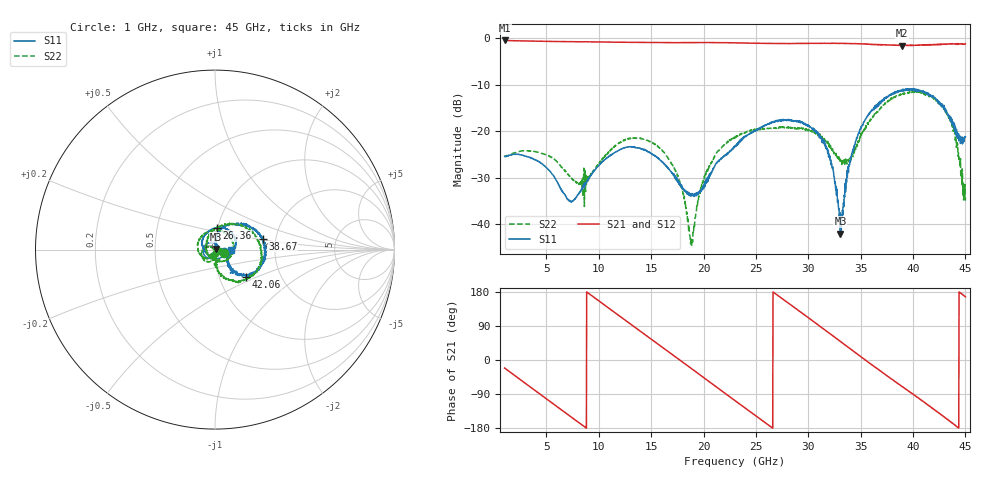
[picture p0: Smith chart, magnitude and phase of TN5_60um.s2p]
!Keysight Technologies,N5247B,MY61255062,A.19.80.06
!Date: Thursday, May 21, 2026 11:38:41
!Correction: S11(Cdelta 2-Port  )
!S21(Cdelta 2-Port  )
!S12(Cdelta 2-Port  )
!S22(Cdelta 2-Port  )
!S2P File: Measurements: S11, S21, S12, S22:
# Hz S  dB  R 50
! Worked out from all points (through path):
!   1601 points, 1 GHz to 45 GHz, reference 50 ohm
!   highest |S21| = -0.49 dB at 1 GHz (marker M1); lowest = -1.6 dB at 38.98 GHz (marker M2)
!   group delay of S21, straight-line fit = 56.2 ps
!   lowest |S11| = -42.0 dB at 33.06 GHz (marker M3), VSWR 1.02, Z = 50.7 + j0.348 ohm
!   |S11| at or under -10 dB: start of sweep to end of sweep
!   |S22| runs from -44.8 to -11.4 dB; largest |S21 - S12| = 0.014
!   S11 on the Smith chart (normalised r, x): 1 GHz: 1.11, -0.04; 26.36 GHz: 0.99, +0.24; 38.67 GHz: 1.71, +0.23; 42.06 GHz: 1.34, -0.43; 45 GHz: 1.19, -0.01
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1e9  -25.44 -17.4  -0.49 -21.2  -0.49 -21.2  -25.39 -18.6
4.6025e9  -27.08 -101.3  -0.68 -94.6  -0.68 -94.6  -24.86 -101.0
7.1875e9  -34.91 -111.6  -0.74 -147.0  -0.75 -147.0  -29.74 -128.8
8.3425e9  -32.52 -86.7  -0.79 -170.5  -0.79 -170.5  -31.53 -114.9
1.0185e10  -26.93 -100.7  -0.82 152.2  -0.83 152.2  -26.65 -95.4
1.233e10  -23.68 -142.9  -0.89 108.9  -0.89 108.9  -22.11 -121.5
1.5685e10  -25.83 130.8  -0.94 41.1  -0.94 41.0  -23.43 179.0
1.75825e10  -31.14 66.5  -0.96 2.8  -0.97 2.8  -30.12 151.4
1.88475e10  -33.89 -8.8  -0.96 -22.7  -0.96 -22.8  -44.77 -148.4
2.0305e10  -30.75 -98.2  -0.94 -52.4  -0.95 -52.4  -28.96 -105.3
2.3e10  -23.40 169.0  -1.01 -107.4  -1.01 -107.4  -21.29 -159.5
2.6355e10  -18.30 86.0  -1.13 -174.9  -1.14 -175.0  -19.41 108.6
3.03425e10  -19.51 2.9  -1.11 104.7  -1.12 104.7  -19.88 -13.1
3.19375e10  -25.54 -27.7  -1.11 72.1  -1.11 72.1  -22.71 -66.5
3.3065e10  -42.05 25.7  -1.11 48.8  -1.12 48.9  -26.07 -128.1
3.4825e10  -20.32 78.1  -1.19 12.7  -1.20 12.5  -21.73 120.0
3.7685e10  -12.52 30.0  -1.48 -44.9  -1.49 -45.2  -13.40 35.2
3.8675e10  -11.25 13.0  -1.49 -64.7  -1.56 -64.5  -12.35 13.5
3.89775e10  -11.36 8.5  -1.59 -70.3  -1.54 -70.4  -12.04 8.2
4.20575e10  -12.78 -40.9  -1.35 -131.6  -1.36 -131.1  -13.10 -53.2
4.379e10  -18.01 -52.0  -1.20 -167.5  -1.24 -167.4  -19.42 -80.2
4.5e10  -21.25 -2.1  -1.24 166.9  -1.30 166.8  -34.98 -33.6
